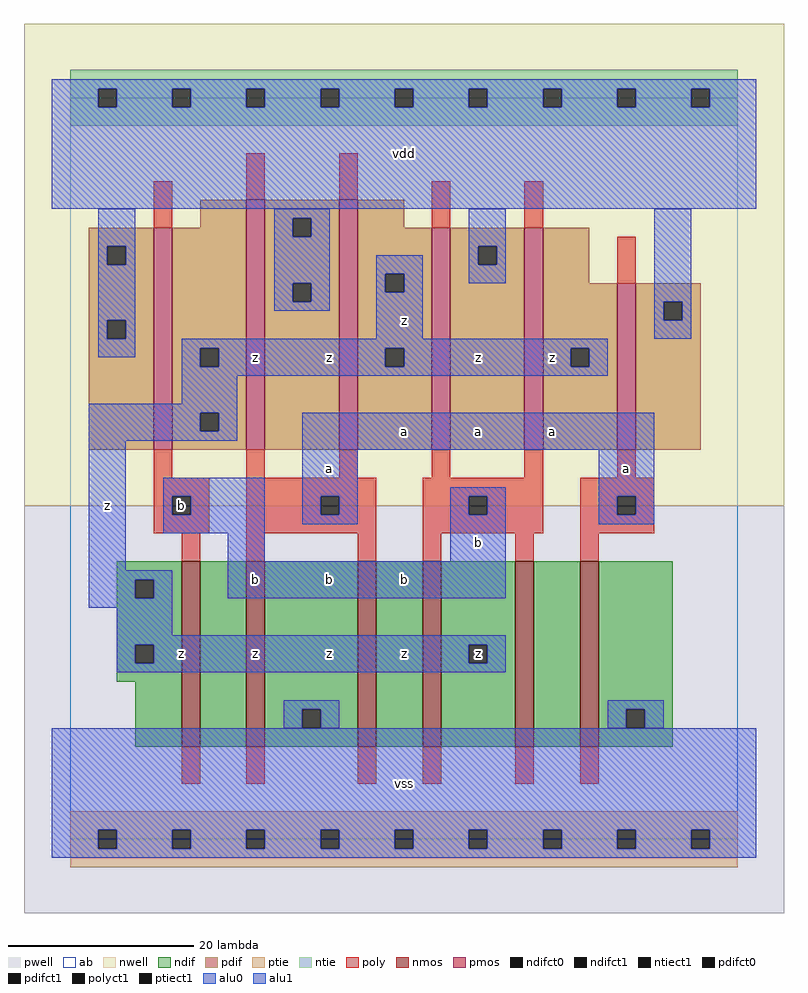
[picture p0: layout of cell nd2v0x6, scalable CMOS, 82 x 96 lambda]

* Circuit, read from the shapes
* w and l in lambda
.subckt nd2v0x6 a b vdd vss z
M1 n1 b z vss nfet w=20 l=2
M2 vss a n1 vss nfet w=20 l=2
M3 n2 a vss vss nfet w=20 l=2
M4 z b n2 vss nfet w=20 l=2
M5 n3 b z vss nfet w=20 l=2
M6 vss a n3 vss nfet w=20 l=2
M7 z b vdd vdd pfet w=24 l=2 m=3
M8 vdd a z vdd pfet w=27 l=2 m=2
M9 vdd a z vdd pfet w=18 l=2
.ends

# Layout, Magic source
magic
tech scmos
<< ab >>
rect 0 0 72 80
<< nwell >>
rect -5 36 77 88
<< pwell >>
rect -5 -8 77 36
<< poly >>
rect 9 66 11 71
rect 19 69 21 74
rect 29 69 31 74
rect 39 66 41 71
rect 49 66 51 71
rect 59 60 61 65
rect 9 39 11 42
rect 19 39 21 42
rect 29 39 31 42
rect 39 39 41 42
rect 49 39 51 42
rect 59 39 61 42
rect 9 37 15 39
rect 9 35 11 37
rect 13 35 15 37
rect 9 33 15 35
rect 19 37 33 39
rect 19 35 27 37
rect 29 35 33 37
rect 19 33 33 35
rect 12 30 14 33
rect 19 30 21 33
rect 31 30 33 33
rect 38 37 51 39
rect 38 35 43 37
rect 45 35 51 37
rect 38 33 51 35
rect 55 37 63 39
rect 55 35 59 37
rect 61 35 63 37
rect 55 33 63 35
rect 38 30 40 33
rect 48 30 50 33
rect 55 30 57 33
rect 12 6 14 10
rect 19 6 21 10
rect 31 6 33 10
rect 38 6 40 10
rect 48 6 50 10
rect 55 6 57 10
<< ndif >>
rect 5 28 12 30
rect 5 26 7 28
rect 9 26 12 28
rect 5 21 12 26
rect 5 19 7 21
rect 9 19 12 21
rect 5 17 12 19
rect 7 10 12 17
rect 14 10 19 30
rect 21 14 31 30
rect 21 12 25 14
rect 27 12 31 14
rect 21 10 31 12
rect 33 10 38 30
rect 40 21 48 30
rect 40 19 43 21
rect 45 19 48 21
rect 40 10 48 19
rect 50 10 55 30
rect 57 14 65 30
rect 57 12 60 14
rect 62 12 65 14
rect 57 10 65 12
<< pdif >>
rect 14 66 19 69
rect 2 64 9 66
rect 2 62 4 64
rect 6 62 9 64
rect 2 56 9 62
rect 2 54 4 56
rect 6 54 9 56
rect 2 42 9 54
rect 11 53 19 66
rect 11 51 14 53
rect 16 51 19 53
rect 11 46 19 51
rect 11 44 14 46
rect 16 44 19 46
rect 11 42 19 44
rect 21 67 29 69
rect 21 65 24 67
rect 26 65 29 67
rect 21 60 29 65
rect 21 58 24 60
rect 26 58 29 60
rect 21 42 29 58
rect 31 66 36 69
rect 31 61 39 66
rect 31 59 34 61
rect 36 59 39 61
rect 31 53 39 59
rect 31 51 34 53
rect 36 51 39 53
rect 31 42 39 51
rect 41 64 49 66
rect 41 62 44 64
rect 46 62 49 64
rect 41 42 49 62
rect 51 60 56 66
rect 51 53 59 60
rect 51 51 54 53
rect 56 51 59 53
rect 51 42 59 51
rect 61 58 68 60
rect 61 56 64 58
rect 66 56 68 58
rect 61 42 68 56
<< alu1 >>
rect -2 81 74 82
rect -2 79 3 81
rect 5 79 11 81
rect 13 79 19 81
rect 21 79 27 81
rect 29 79 35 81
rect 37 79 43 81
rect 45 79 51 81
rect 53 79 59 81
rect 61 79 67 81
rect 69 79 74 81
rect -2 68 74 79
rect 33 61 38 63
rect 33 59 34 61
rect 36 59 38 61
rect 33 54 38 59
rect 12 53 58 54
rect 12 51 14 53
rect 16 51 34 53
rect 36 51 54 53
rect 56 51 58 53
rect 12 50 58 51
rect 12 47 18 50
rect 2 46 18 47
rect 2 44 14 46
rect 16 44 18 46
rect 2 43 18 44
rect 2 29 6 43
rect 25 42 63 46
rect 10 37 21 39
rect 10 35 11 37
rect 13 35 21 37
rect 10 33 21 35
rect 25 37 31 42
rect 25 35 27 37
rect 29 35 31 37
rect 25 34 31 35
rect 41 37 47 38
rect 41 35 43 37
rect 45 35 47 37
rect 17 30 21 33
rect 41 30 47 35
rect 57 37 63 42
rect 57 35 59 37
rect 61 35 63 37
rect 57 34 63 35
rect 2 28 11 29
rect 2 26 7 28
rect 9 26 11 28
rect 17 26 47 30
rect 2 25 11 26
rect 5 22 11 25
rect 5 21 47 22
rect 5 19 7 21
rect 9 19 43 21
rect 45 19 47 21
rect 5 18 47 19
rect -2 1 74 12
rect -2 -1 3 1
rect 5 -1 11 1
rect 13 -1 19 1
rect 21 -1 27 1
rect 29 -1 35 1
rect 37 -1 43 1
rect 45 -1 51 1
rect 53 -1 59 1
rect 61 -1 67 1
rect 69 -1 74 1
rect -2 -2 74 -1
<< ptie >>
rect 0 1 72 3
rect 0 -1 3 1
rect 5 -1 11 1
rect 13 -1 19 1
rect 21 -1 27 1
rect 29 -1 35 1
rect 37 -1 43 1
rect 45 -1 51 1
rect 53 -1 59 1
rect 61 -1 67 1
rect 69 -1 72 1
rect 0 -3 72 -1
<< ntie >>
rect 0 81 72 83
rect 0 79 3 81
rect 5 79 11 81
rect 13 79 19 81
rect 21 79 27 81
rect 29 79 35 81
rect 37 79 43 81
rect 45 79 51 81
rect 53 79 59 81
rect 61 79 67 81
rect 69 79 72 81
rect 0 77 72 79
<< nmos >>
rect 12 10 14 30
rect 19 10 21 30
rect 31 10 33 30
rect 38 10 40 30
rect 48 10 50 30
rect 55 10 57 30
<< pmos >>
rect 9 42 11 66
rect 19 42 21 69
rect 29 42 31 69
rect 39 42 41 66
rect 49 42 51 66
rect 59 42 61 60
<< polyct1 >>
rect 11 35 13 37
rect 27 35 29 37
rect 43 35 45 37
rect 59 35 61 37
<< ndifct0 >>
rect 25 12 27 14
rect 60 12 62 14
<< ndifct1 >>
rect 7 26 9 28
rect 7 19 9 21
rect 43 19 45 21
<< ntiect1 >>
rect 3 79 5 81
rect 11 79 13 81
rect 19 79 21 81
rect 27 79 29 81
rect 35 79 37 81
rect 43 79 45 81
rect 51 79 53 81
rect 59 79 61 81
rect 67 79 69 81
<< ptiect1 >>
rect 3 -1 5 1
rect 11 -1 13 1
rect 19 -1 21 1
rect 27 -1 29 1
rect 35 -1 37 1
rect 43 -1 45 1
rect 51 -1 53 1
rect 59 -1 61 1
rect 67 -1 69 1
<< pdifct0 >>
rect 4 62 6 64
rect 4 54 6 56
rect 24 65 26 67
rect 24 58 26 60
rect 44 62 46 64
rect 64 56 66 58
<< pdifct1 >>
rect 14 51 16 53
rect 14 44 16 46
rect 34 59 36 61
rect 34 51 36 53
rect 54 51 56 53
<< alu0 >>
rect 3 64 7 68
rect 3 62 4 64
rect 6 62 7 64
rect 3 56 7 62
rect 22 67 28 68
rect 22 65 24 67
rect 26 65 28 67
rect 22 60 28 65
rect 43 64 47 68
rect 22 58 24 60
rect 26 58 28 60
rect 22 57 28 58
rect 43 62 44 64
rect 46 62 47 64
rect 43 60 47 62
rect 3 54 4 56
rect 6 54 7 56
rect 63 58 67 68
rect 63 56 64 58
rect 66 56 67 58
rect 63 54 67 56
rect 3 52 7 54
rect 23 14 29 15
rect 23 12 25 14
rect 27 12 29 14
rect 58 14 64 15
rect 58 12 60 14
rect 62 12 64 14
<< labels >>
rlabel alu1 12 20 12 20 6 z
rlabel polyct1 12 36 12 36 6 b
rlabel alu1 4 36 4 36 6 z
rlabel alu1 28 20 28 20 6 z
rlabel alu1 20 20 20 20 6 z
rlabel alu1 20 28 20 28 6 b
rlabel alu1 28 28 28 28 6 b
rlabel alu1 28 40 28 40 6 a
rlabel alu1 20 52 20 52 6 z
rlabel alu1 28 52 28 52 6 z
rlabel alu1 36 6 36 6 6 vss
rlabel ndifct1 44 20 44 20 6 z
rlabel alu1 36 20 36 20 6 z
rlabel alu1 36 28 36 28 6 b
rlabel alu1 44 32 44 32 6 b
rlabel alu1 44 44 44 44 6 a
rlabel alu1 52 44 52 44 6 a
rlabel alu1 36 44 36 44 6 a
rlabel alu1 36 56 36 56 6 z
rlabel alu1 44 52 44 52 6 z
rlabel alu1 52 52 52 52 6 z
rlabel alu1 36 74 36 74 6 vdd
rlabel alu1 60 40 60 40 6 a
<< end >>
